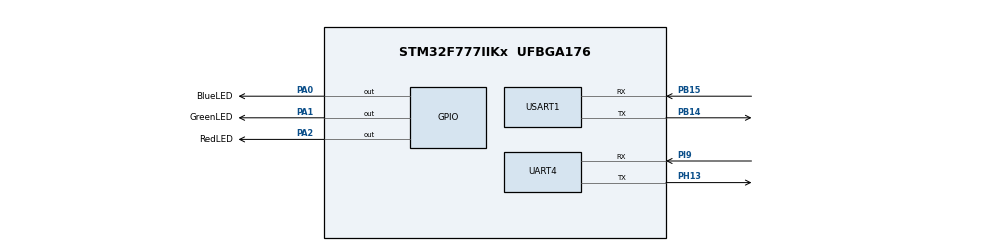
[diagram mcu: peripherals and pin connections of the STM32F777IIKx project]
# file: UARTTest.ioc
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Mcu.Family=STM32F7
Mcu.Name=STM32F777IIKx
Mcu.Package=UFBGA176
NVIC.PriorityGroup=NVIC_PRIORITYGROUP_4
NVIC.UART4_IRQn=true\:0\:0\:false\:false\:true\:true\:true
NVIC.USART1_IRQn=true\:0\:0\:false\:false\:true\:true\:true
PA0/WKUP.GPIO_Label=BlueLED
PA0/WKUP.PinState=GPIO_PIN_SET
PA0/WKUP.Signal=GPIO_Output
PA1.GPIO_Label=GreenLED
PA1.PinState=GPIO_PIN_SET
PA1.Signal=GPIO_Output
PA2.GPIO_Label=RedLED
PA2.PinState=GPIO_PIN_SET
PA2.Signal=GPIO_Output
PB14.Mode=Asynchronous
PB14.Signal=USART1_TX
PB15.Mode=Asynchronous
PB15.Signal=USART1_RX
PH13.Mode=Asynchronous
PH13.Signal=UART4_TX
PI9.Mode=Asynchronous
PI9.Signal=UART4_RX
ProjectManager.HeapSize=0x200
ProjectManager.StackSize=0x400
ProjectManager.TargetToolchain=STM32CubeIDE
RCC.HSE_VALUE=25000000
RCC.HSI_VALUE=16000000
RCC.LSE_VALUE=32768
RCC.USBFreq_Value=96000000
RCC.VCOOutputFreq_Value=192000000
USART1.VirtualMode-Asynchronous=VM_ASYNC
board=custom

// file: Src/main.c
/* USER CODE BEGIN Header */
/**
  ******************************************************************************
  * @file           : main.c
  * @brief          : Main program body
  ******************************************************************************
  ** This notice applies to any and all portions of this file
  * that are not between comment pairs USER CODE BEGIN and
  * USER CODE END. Other portions of this file, whether
  * inserted by the user or by software development tools
  * are owned by their respective copyright owners.
  *
  * COPYRIGHT(c) 2019 STMicroelectronics
  *
  * Redistribution and use in source and binary forms, with or without modification,
  * are permitted provided that the following conditions are met:
  *   1. Redistributions of source code must retain the above copyright notice,
  *      this list of conditions and the following disclaimer.
  *   2. Redistributions in binary form must reproduce the above copyright notice,
  *      this list of conditions and the following disclaimer in the documentation
  *      and/or other materials provided with the distribution.
  *   3. Neither the name of STMicroelectronics nor the names of its contributors
  *      may be used to endorse or promote products derived from this software
  *      without specific prior written permission.
  *
  * THIS SOFTWARE IS PROVIDED BY THE COPYRIGHT HOLDERS AND CONTRIBUTORS "AS IS"
  * AND ANY EXPRESS OR IMPLIED WARRANTIES, INCLUDING, BUT NOT LIMITED TO, THE
  * IMPLIED WARRANTIES OF MERCHANTABILITY AND FITNESS FOR A PARTICULAR PURPOSE ARE
  * DISCLAIMED. IN NO EVENT SHALL THE COPYRIGHT HOLDER OR CONTRIBUTORS BE LIABLE
  * FOR ANY DIRECT, INDIRECT, INCIDENTAL, SPECIAL, EXEMPLARY, OR CONSEQUENTIAL
  * DAMAGES (INCLUDING, BUT NOT LIMITED TO, PROCUREMENT OF SUBSTITUTE GOODS OR
  * SERVICES; LOSS OF USE, DATA, OR PROFITS; OR BUSINESS INTERRUPTION) HOWEVER
  * CAUSED AND ON ANY THEORY OF LIABILITY, WHETHER IN CONTRACT, STRICT LIABILITY,
  * OR TORT (INCLUDING NEGLIGENCE OR OTHERWISE) ARISING IN ANY WAY OUT OF THE USE
  * OF THIS SOFTWARE, EVEN IF ADVISED OF THE POSSIBILITY OF SUCH DAMAGE.
  *
  ******************************************************************************
  */
/* USER CODE END Header */

#include "main.h"
#include "usart.h"
#include "gpio.h"

/* USER CODE BEGIN Includes */

#include <string.h>
#include <stdio.h>
#include <stdlib.h>

/* USER CODE END Includes */

/* USER CODE BEGIN PD */

#define PROMPT   "Enter some text: "

#define INCOMING_COM_PORT     huart4
#define ECHO_COM_PORT         huart1

/* USER CODE END PD */

void SystemClock_Config(void);

/* USER CODE BEGIN 0 */

/*
 *    Hold the data generated by the interrupt.
 */
char _rxData[2];

/*
 *    Hold the accumulated data incoming from the UART.
 */
#define RX_BUFFER_CAPACITY 1000
char _rxBuffer[RX_BUFFER_CAPACITY];

/*
 *    Location of the next character in the accumulated buffer.
 */
uint8_t _rxIndex = 0;

/*
 *    Process data on the UARTs.
 */
void HAL_UART_RxCpltCallback(UART_HandleTypeDef *huart)
{
  if (huart->Instance == INCOMING_COM_PORT.Instance)
  {
    if (_rxIndex < RX_BUFFER_CAPACITY)
    {
      _rxBuffer[_rxIndex++] = _rxData[0];
    }
    HAL_UART_Receive_IT(&INCOMING_COM_PORT, (uint8_t *)_rxData, 1);
  }
}

/* USER CODE END 0 */

int main(void)
{
  /* USER CODE BEGIN 1 */

  memset(_rxBuffer, 0, RX_BUFFER_CAPACITY);
  _rxIndex = 0;

  /* USER CODE END 1 */

  /* MCU Configuration--------------------------------------------------------*/

  /* Reset of all peripherals, Initializes the Flash interface and the Systick. */
  HAL_Init();

  /* Configure the system clock */
  SystemClock_Config();

  /* Initialize all configured peripherals */
  MX_GPIO_Init();
  MX_USART1_UART_Init();
  MX_UART4_Init();
  /* USER CODE BEGIN 2 */

  HAL_GPIO_WritePin(RedLED_GPIO_Port, RedLED_Pin, GPIO_PIN_SET);
  HAL_GPIO_WritePin(GreenLED_GPIO_Port, GreenLED_Pin, GPIO_PIN_SET);
  HAL_GPIO_WritePin(BlueLED_GPIO_Port, BlueLED_Pin, GPIO_PIN_SET);

  /* USER CODE END 2 */

  /* Infinite loop */
  /* USER CODE BEGIN WHILE */

  HAL_UART_Transmit(&INCOMING_COM_PORT, (uint8_t *) PROMPT, strlen(PROMPT), HAL_MAX_DELAY);
  HAL_UART_Receive_IT(&INCOMING_COM_PORT, (uint8_t *)_rxData, 1);

  while (1)
  {
    int sizeOfBuffer = _rxIndex;
    if (sizeOfBuffer > 0)
    {
      uint8_t copyOfBuffer[RX_BUFFER_CAPACITY];
      memcpy(copyOfBuffer, _rxBuffer, _rxIndex);
      _rxIndex = 0;
      HAL_UART_Transmit(&ECHO_COM_PORT, (uint8_t *) copyOfBuffer, sizeOfBuffer, HAL_MAX_DELAY);
    }

    /* USER CODE END WHILE */

  }
}

void SystemClock_Config(void)
{
  RCC_OscInitTypeDef RCC_OscInitStruct = {0};
  RCC_ClkInitTypeDef RCC_ClkInitStruct = {0};
  RCC_PeriphCLKInitTypeDef PeriphClkInitStruct = {0};

  /**Configure the main internal regulator output voltage
  */
  __HAL_RCC_PWR_CLK_ENABLE();
  __HAL_PWR_VOLTAGESCALING_CONFIG(PWR_REGULATOR_VOLTAGE_SCALE3);
  /**Initializes the CPU, AHB and APB busses clocks
  */
  RCC_OscInitStruct.OscillatorType = RCC_OSCILLATORTYPE_HSI;
  RCC_OscInitStruct.HSIState = RCC_HSI_ON;
  RCC_OscInitStruct.HSICalibrationValue = RCC_HSICALIBRATION_DEFAULT;
  RCC_OscInitStruct.PLL.PLLState = RCC_PLL_NONE;
  if (HAL_RCC_OscConfig(&RCC_OscInitStruct) != HAL_OK)
  {
    Error_Handler();
  }
  /**Initializes the CPU, AHB and APB busses clocks
  */
  RCC_ClkInitStruct.ClockType = RCC_CLOCKTYPE_HCLK|RCC_CLOCKTYPE_SYSCLK
                              |RCC_CLOCKTYPE_PCLK1|RCC_CLOCKTYPE_PCLK2;
  RCC_ClkInitStruct.SYSCLKSource = RCC_SYSCLKSOURCE_HSI;
  RCC_ClkInitStruct.AHBCLKDivider = RCC_SYSCLK_DIV1;
  RCC_ClkInitStruct.APB1CLKDivider = RCC_HCLK_DIV1;
  RCC_ClkInitStruct.APB2CLKDivider = RCC_HCLK_DIV1;

  if (HAL_RCC_ClockConfig(&RCC_ClkInitStruct, FLASH_LATENCY_0) != HAL_OK)
  {
    Error_Handler();
  }
  PeriphClkInitStruct.PeriphClockSelection = RCC_PERIPHCLK_USART1|RCC_PERIPHCLK_UART4;
  PeriphClkInitStruct.Usart1ClockSelection = RCC_USART1CLKSOURCE_PCLK2;
  PeriphClkInitStruct.Uart4ClockSelection = RCC_UART4CLKSOURCE_PCLK1;
  if (HAL_RCCEx_PeriphCLKConfig(&PeriphClkInitStruct) != HAL_OK)
  {
    Error_Handler();
  }
}

void Error_Handler(void)
{
}

/************************ (C) COPYRIGHT STMicroelectronics *****END OF FILE****/
